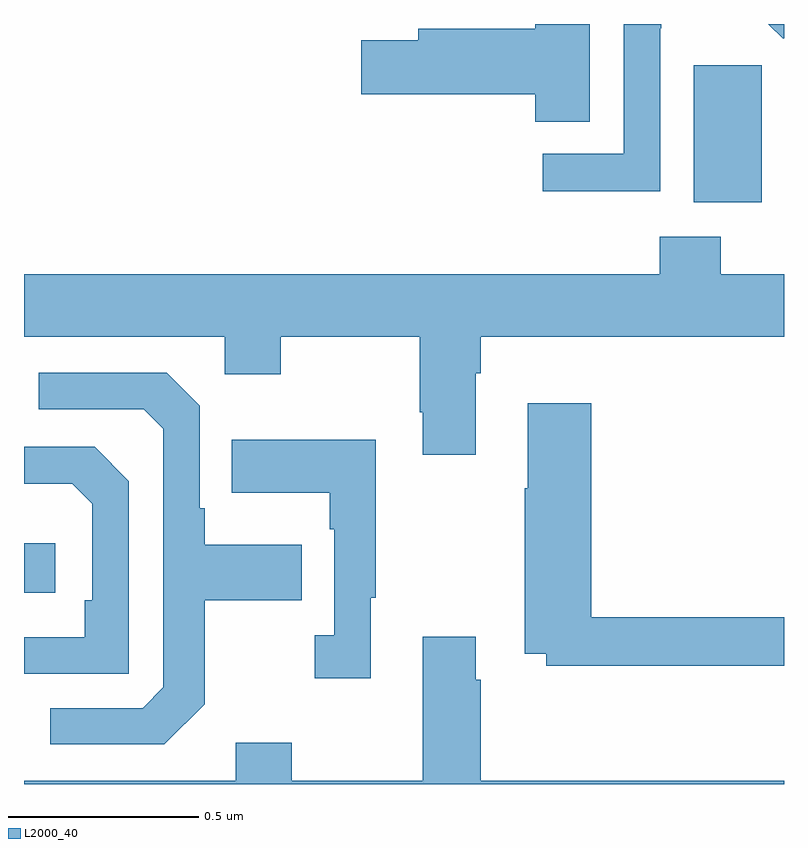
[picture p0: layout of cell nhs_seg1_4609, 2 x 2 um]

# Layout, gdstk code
import gdstk
lib = gdstk.Library(unit=1e-6, precision=1e-09)
def R(c, l, rs):  # rectangles x0, y0, x1, y1
    for r in rs: c.add(gdstk.rectangle(r[:2], r[2:], *l))
def P(c, l, *ps):  # polygons
    for p in ps: c.add(gdstk.Polygon(p, *l))
L2000_40 = (2000, 40)

nhs_seg1_4609 = lib.new_cell('nhs_seg1_4609')
R(nhs_seg1_4609, L2000_40, [(168,573.702,168.082,573.832), (169.763,574.73,169.942,575.091)])
P(nhs_seg1_4609, L2000_40, [(169.489,575.199),(169.346,575.199),(169.346,575.186),(169.037,575.186),(169.037,575.156),(168.888,575.156),(168.888,575.014),(169.346,575.014),(169.346,574.942),(169.489,574.942)],
  [(169.674,575.188),(169.677,575.188),(169.677,575.199),(169.578,575.199),(169.578,574.857),(169.365,574.857),(169.365,574.759),(169.674,574.759)],
  [(170,575.162),(170,575.199),(169.959,575.199),(169.998,575.16)],
  [(169.189,574.28),(169.202,574.28),(169.202,574.376),(170,574.376),(170,574.54),(169.833,574.54),(169.833,574.639),(169.673,574.639),(169.673,574.54),(168,574.54),(168,574.376),(168.528,574.376),(168.528,574.277),(168.675,574.277),(168.675,574.376),(169.042,574.376),(169.042,574.177),(169.049,574.177),(169.049,574.065),(169.189,574.065)],
  [(168.475,573.409),(168.475,573.682),(168.731,573.682),(168.731,573.829),(168.475,573.829),(168.475,573.925),(168.462,573.925),(168.462,574.194),(168.375,574.281),(168.039,574.281),(168.039,574.185),(168.315,574.185),(168.366,574.134),(168.366,573.453),(168.312,573.399),(168.069,573.399),(168.069,573.303),(168.369,573.303)],
  [(170,573.638),(169.493,573.638),(169.493,574.201),(169.325,574.201),(169.325,573.977),(169.318,573.977),(169.318,573.542),(169.374,573.542),(169.374,573.51),(170,573.51)],
  [(168.913,573.689),(168.925,573.689),(168.925,574.105),(168.547,574.105),(168.547,573.965),(168.804,573.965),(168.804,573.869),(168.816,573.869),(168.816,573.59),(168.765,573.59),(168.765,573.477),(168.913,573.477)],
  [(168.276,573.996),(168.186,574.086),(168,574.086),(168,573.989),(168.127,573.989),(168.18,573.936),(168.18,573.682),(168.16,573.682),(168.16,573.585),(168,573.585),(168,573.489),(168.276,573.489)],
  [(170,573.208),(169.202,573.208),(169.202,573.473),(169.189,573.473),(169.189,573.586),(169.049,573.586),(169.049,573.208),(168.705,573.208),(168.705,573.307),(168.557,573.307),(168.557,573.208),(168,573.208),(168,573.199),(170,573.199)])

lib.write_gds('nhs_seg1_4609.gds')
